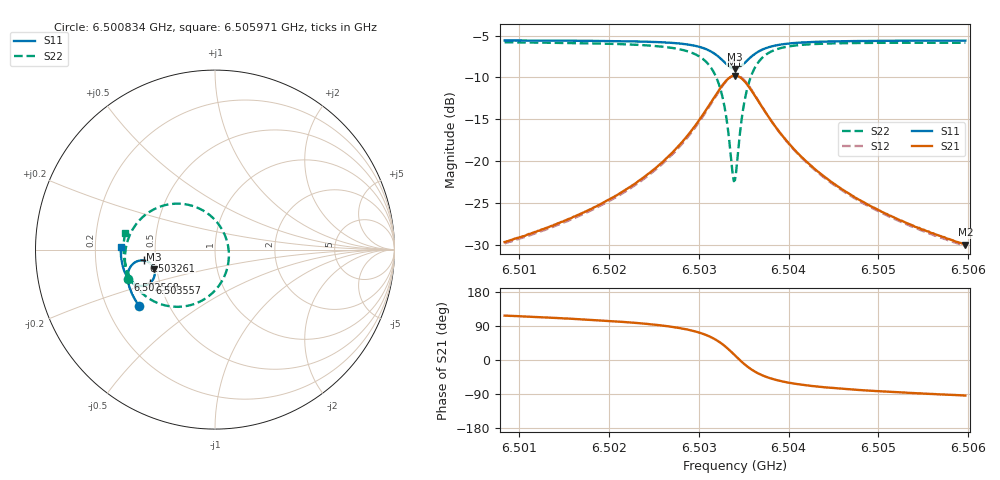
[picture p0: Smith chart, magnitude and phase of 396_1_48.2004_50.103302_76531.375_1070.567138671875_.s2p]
#  HZ  S  RI  R  50.00
! Rohde & Schwarz Vector Network Analyzer
! Rohde-Schwarz,ZNB20-2Port,1311601062101988,3.16
! Created: UTC 3/20/2024, 11:53:49 AM
! freq[Hz]  re:S11  im:S11  re:S21  im:S21  re:S12  im:S12  re:S22  im:S22
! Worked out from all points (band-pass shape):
!   401 points, 6.500834 GHz to 6.505971 GHz, reference 50 ohm
!   highest |S21| = -9.78 dB at 6.503403 GHz (marker M1); lowest = -30.0 dB at 6.505971 GHz (marker M2)
!   |S21| within 3 dB of the highest: 6.503146 GHz to 6.50366 GHz (513.5 kHz wide, 0.0079 % of centre)
!   lowest |S11| = -9.0 dB at 6.503403 GHz (marker M3), VSWR 2.10, Z = 24.2 - j6.05 ohm
!   |S11| at or under -10 dB: nowhere
!   |S22| runs from -22.4 to -5.8 dB; largest |S21 - S12| = 0.011
!   S11 on the Smith chart (normalised r, x): 6.500834 GHz: 0.34, -0.30; 6.502568 GHz: 0.33, -0.15; 6.503261 GHz: 0.43, -0.06; 6.503557 GHz: 0.44, -0.20; 6.505971 GHz: 0.31, +0.01
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6.500834e9  -0.4209 -0.3163  -0.015 0.0292  -0.0133 0.0292  -0.4863 -0.165
6.5016945e9  -0.4586 -0.2537  -0.0145 0.0465  -0.0121 0.0462  -0.5013 -0.0753
6.5021697e9  -0.4758 -0.2123  -0.0118 0.0657  -0.00889 0.0646  -0.4994 -0.00937
6.502555e9  -0.4855 -0.1705  -0.00311 0.0946  0.000464 0.0923  -0.4812 0.0654
6.5025678e9  -0.4856 -0.1689  -0.0027 0.096  0.000952 0.0937  -0.48 0.0687
6.5028118e9  -0.485 -0.1337  0.0154 0.1288  0.0193 0.1251  -0.4421 0.138
6.5029917e9  -0.4737 -0.1006  0.0498 0.165  0.053 0.1596  -0.3745 0.204
6.5031586e9  -0.4394 -0.0675  0.1266 0.1983  0.1279 0.1918  -0.2335 0.255
6.5032614e9  -0.397 -0.0605  0.2112 0.1897  0.2115 0.1845  -0.0862 0.2281
6.5033127e9  -0.3716 -0.0688  0.2593 0.1624  0.2601 0.1578  -0.00625 0.1717
6.503377e9  -0.3451 -0.095  0.3069 0.0997  0.3093 0.0948  0.0655 0.0514
6.5034026e9  -0.3386 -0.1092  0.3172 0.068  0.3201 0.0622  0.0767 -0.00763
6.5034283e9  -0.3356 -0.1246  0.321 0.0346  0.3243 0.0279  0.0752 -0.0684
6.5034925e9  -0.3425 -0.1613  0.3036 -0.0424  0.3056 -0.052  0.0215 -0.2021
6.5035568e9  -0.3633 -0.1869  0.2616 -0.0963  0.2605 -0.1071  -0.0734 -0.2843
6.5036595e9  -0.4023 -0.2021  0.1879 -0.1323  0.1827 -0.1415  -0.2215 -0.3186
6.5038265e9  -0.448 -0.1924  0.1072 -0.1295  0.1005 -0.1344  -0.3671 -0.2731
6.5040063e9  -0.4753 -0.1711  0.0635 -0.1101  0.0573 -0.1121  -0.4383 -0.2091
6.5042631e9  -0.4959 -0.1411  0.0338 -0.0861  0.029 -0.0867  -0.4813 -0.1378
6.5046613e9  -0.5119 -0.1002  0.0145 -0.0629  0.0112 -0.0625  -0.5041 -0.0614
6.5051236e9  -0.5209 -0.0578  0.00498 -0.047  0.00285 -0.0464  -0.5096 0.00233
6.5059713e9  -0.5258 0.0135  -0.00204 -0.0316  -0.0034 -0.0308  -0.5016 0.0908
